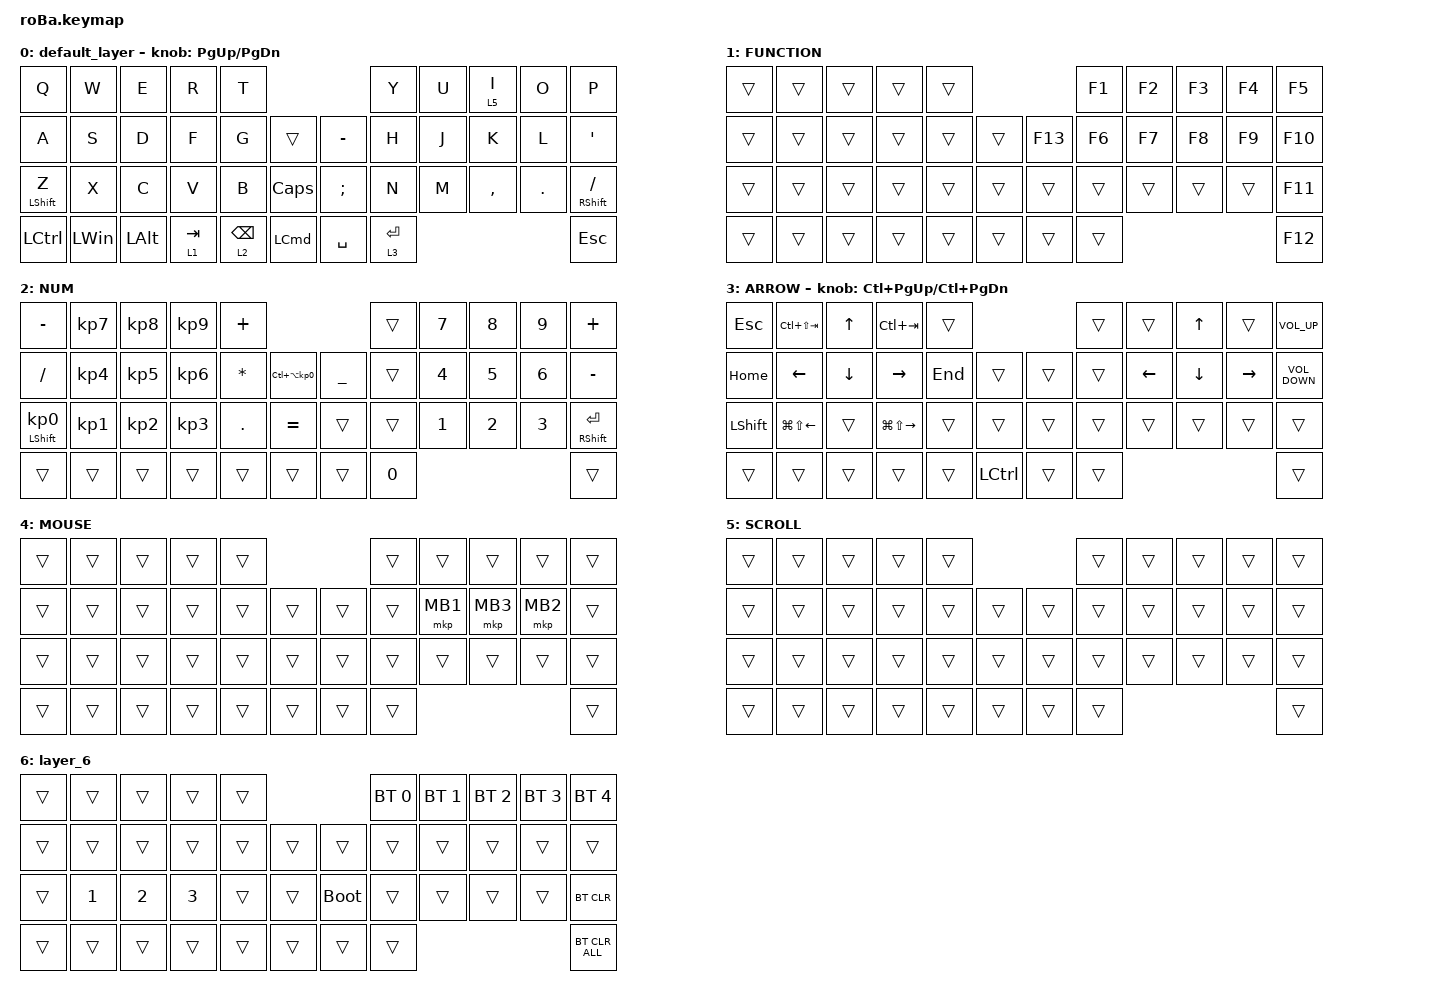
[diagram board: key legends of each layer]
#include <behaviors.dtsi>
#include <dt-bindings/zmk/bt.h>
#include <dt-bindings/zmk/keys.h>
#include <dt-bindings/zmk/pointing.h>

#define MOUSE 4
#define SCROLL 5
#define NUM 6

&mt {
    flavor = "balanced";
    quick-tap-ms = <0>;
};

/ {
    combos {
        compatible = "zmk,combos";

        left {
            bindings = <&mkp LCLK>;
            key-positions = <18 19>;
        };

        right {
            bindings = <&mkp RCLK>;
            key-positions = <19 20>;
        };
    };

    macros {
        to_layer_0: to_layer_0 {
            compatible = "zmk,behavior-macro-one-param";
            #binding-cells = <1>;
            bindings = <&to 0 &macro_param_1to1 &kp MACRO_PLACEHOLDER>;
            label = "TO_LAYER_0";
        };
    };

    behaviors {
        lt_to_layer_0: lt_to_layer_0 {
            compatible = "zmk,behavior-hold-tap";
            label = "LAYER_TAP_TO_0";
            bindings = <&mo>, <&to_layer_0>;

            #binding-cells = <2>;
            tapping-term-ms = <200>;
        };
    };

    keymap {
        compatible = "zmk,keymap";

        default_layer {
            bindings = <
&kp Q             &kp W         &kp E         &kp R                 &kp T                                                 &kp Y        &kp U  &lt 5 I    &kp O    &kp P
&kp A             &kp S         &kp D         &kp F                 &kp G            &trans                &kp MINUS      &kp H        &kp J  &kp K      &kp L    &kp SQT
&mt LEFT_SHIFT Z  &kp X         &kp C         &kp V                 &kp B            &kp CAPSLOCK          &kp SEMICOLON  &kp N        &kp M  &kp COMMA  &kp DOT  &mt RIGHT_SHIFT SLASH
&kp LCTRL         &kp LEFT_WIN  &kp LEFT_ALT  &lt_to_layer_0 1 TAB  &lt 2 BACKSPACE  &kp LEFT_COMMAND      &kp SPACE      &lt 3 ENTER                             &kp ESCAPE
            >;

            sensor-bindings = <&inc_dec_kp PG_UP PAGE_DOWN>;
        };

        FUNCTION {
            bindings = <
&trans  &trans  &trans  &trans  &trans                       &kp F1  &kp F2  &kp F3  &kp F4  &kp F5
&trans  &trans  &trans  &trans  &trans  &trans      &kp F13  &kp F6  &kp F7  &kp F8  &kp F9  &kp F10
&trans  &trans  &trans  &trans  &trans  &trans      &trans   &trans  &trans  &trans  &trans  &kp F11
&trans  &trans  &trans  &trans  &trans  &trans      &trans   &trans                          &kp F12
            >;
        };

        NUM {
            bindings = <
&kp MINUS                   &kp KP_NUMBER_7  &kp KP_NUMBER_8  &kp KP_NUMBER_9  &kp PLUS                                                   &trans  &kp N7        &kp N8        &kp N9        &kp PLUS
&kp SLASH                   &kp KP_NUMBER_4  &kp KP_NUMBER_5  &kp KP_NUMBER_6  &kp ASTERISK  &kp LC(LA(KP_NUMBER_0))      &kp UNDERSCORE  &trans  &kp NUMBER_4  &kp N5        &kp NUMBER_6  &kp MINUS
&mt LEFT_SHIFT KP_NUMBER_0  &kp KP_NUMBER_1  &kp KP_NUMBER_2  &kp KP_NUMBER_3  &kp PERIOD    &kp EQUAL                    &trans          &trans  &kp NUMBER_1  &kp NUMBER_2  &kp NUMBER_3  &mt RIGHT_SHIFT ENTER
&trans                      &trans           &trans           &trans           &trans        &trans                       &trans          &kp N0                                            &trans
            >;
        };

        ARROW {
            bindings = <
&kp ESCAPE      &kp LC(LS(TAB))         &kp UP_ARROW    &kp LC(TAB)              &trans                                 &trans  &trans          &kp UP_ARROW    &trans           &kp C_VOLUME_UP
&kp HOME        &kp LEFT_ARROW          &kp DOWN_ARROW  &kp RIGHT_ARROW          &kp END  &trans                &trans  &trans  &kp LEFT_ARROW  &kp DOWN_ARROW  &kp RIGHT_ARROW  &kp K_VOLUME_DOWN
&kp LEFT_SHIFT  &kp LG(LS(LEFT_ARROW))  &trans          &kp LG(LS(RIGHT_ARROW))  &trans   &trans                &trans  &trans  &trans          &trans          &trans           &trans
&trans          &trans                  &trans          &trans                   &trans   &kp LEFT_CONTROL      &trans  &trans                                                   &trans
            >;

            sensor-bindings = <&inc_dec_kp LC(PAGE_UP) LC(PAGE_DOWN)>;
        };

        MOUSE {
            bindings = <
&trans  &trans  &trans  &trans  &trans                      &trans  &trans    &trans    &trans    &trans
&trans  &trans  &trans  &trans  &trans  &trans      &trans  &trans  &mkp MB1  &mkp MB3  &mkp MB2  &trans
&trans  &trans  &trans  &trans  &trans  &trans      &trans  &trans  &trans    &trans    &trans    &trans
&trans  &trans  &trans  &trans  &trans  &trans      &trans  &trans                                &trans
            >;
        };

        SCROLL {
            bindings = <
&trans  &trans  &trans  &trans  &trans                      &trans  &trans  &trans  &trans  &trans
&trans  &trans  &trans  &trans  &trans  &trans      &trans  &trans  &trans  &trans  &trans  &trans
&trans  &trans  &trans  &trans  &trans  &trans      &trans  &trans  &trans  &trans  &trans  &trans
&trans  &trans  &trans  &trans  &trans  &trans      &trans  &trans                          &trans
            >;
        };

        layer_6 {
            bindings = <
&trans  &trans        &trans        &trans        &trans                           &bt BT_SEL 0  &bt BT_SEL 1  &bt BT_SEL 2  &bt BT_SEL 3  &bt BT_SEL 4
&trans  &trans        &trans        &trans        &trans  &trans      &trans       &trans        &trans        &trans        &trans        &trans
&trans  &kp NUMBER_1  &kp NUMBER_2  &kp NUMBER_3  &trans  &trans      &bootloader  &trans        &trans        &trans        &trans        &bt BT_CLR
&trans  &trans        &trans        &trans        &trans  &trans      &trans       &trans                                                  &bt BT_CLR_ALL
            >;
        };
    };
};
